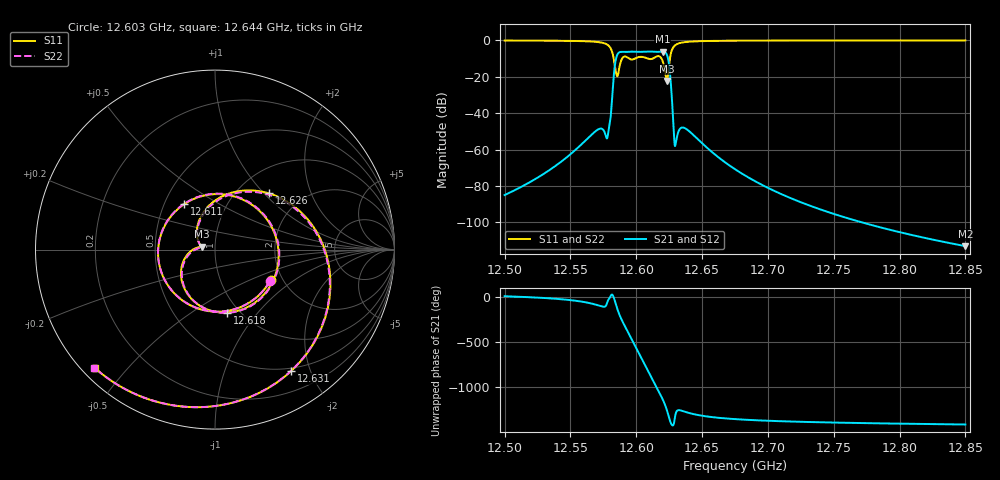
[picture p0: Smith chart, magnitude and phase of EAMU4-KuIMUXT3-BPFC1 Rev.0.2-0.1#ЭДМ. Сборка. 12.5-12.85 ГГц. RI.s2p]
! TOUCHSTONE file generated by CST MICROWAVE STUDIO
! Date and time: Thu Jun 15 18:31:35 2023
! Project name: EAMU4-KuIMUXT3-BPFC1 Rev.0.2-0.1#ÝÄÌ. Ñáîðêà.cst
! Parameters = {cavity_h=16; cavity_l0=10; cavity_l1=15.519; cavity_l2=17.2108; cavity_l3=17.4719; cavity_l4=17.6397; cavity_l5=17.5072; cavity_l6=17.9889; cavity_r=2.5; cavity_screw_l=0.5; cavity_screw_r=1.5; cavity_w=8; iris_h00=0; iris_h01=8.892; iris_h112=0; iris_h12=5.647; iris_h211=3.723; iris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
! Header version: 2018
! Port assignment regex: !\s*Touchstone port\s*([0-9]+)\s*=\s*(CST MWS port|CST DS port)\s*([0-9]+|Zmin|Zmax)\s*\(\"(.*)\"\)(\s*mode\s*([0-9]+))?.*
! Touchstone port assignment:
! Touchstone port 1 = CST MWS port 1 ("")
! Touchstone port 2 = CST MWS port 2 ("")
! S-Parameters are not renormalized. Unphysical impedance of 50 will be written to the file.
# GHz S RI R 50
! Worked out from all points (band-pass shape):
!   5001 points, 12.5 GHz to 12.85 GHz, reference per port
!   highest |S21| = -6.12 dB at 12.62 GHz (marker M1); lowest = -113.1 dB at 12.85 GHz (marker M2)
!   |S21| within 3 dB of the highest: 12.58495 GHz to 12.62384 GHz (38.89 MHz wide, 0.309 % of centre)
!   lowest |S11| = -22.3 dB at 12.623 GHz (marker M3), VSWR 1.17
!   |S11| at or under -10 dB: 12.58284 GHz to 12.58922 GHz (6.389 MHz wide, 0.0508 % of centre); 12.59464 GHz to 12.59901 GHz (4.366 MHz wide, 0.0347 % of centre); 12.61919 GHz to 12.62556 GHz (6.363 MHz wide, 0.0504 % of centre)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
!   |S22| runs from -22.2 to 0.0 dB; largest |S21 - S12| = 1e-09
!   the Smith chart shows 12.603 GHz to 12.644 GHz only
!   S11 on the Smith chart (normalised r, x): 12.603 GHz: 1.74, -0.66; 12.611 GHz: 0.63, +0.35; 12.618 GHz: 0.88, -0.71; 12.626 GHz: 1.38, +1.07; 12.631 GHz: 0.46, -1.71; 12.644 GHz: 0.04, -0.41
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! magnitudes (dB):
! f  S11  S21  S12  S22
! 12.5 GHz  -0.1  -85.0  -85.0  -0.1
! 12.516 GHz  -0.1  -79.3  -79.3  -0.1
! 12.558 GHz  -0.4  -57.1  -57.1  -0.4
! 12.578 GHz  -2.4  -53.0  -53.0  -2.5
! 12.584 GHz  -14.6  -13.2  -13.2  -14.4
! 12.586 GHz  -18.3  -7.0  -7.0  -18.7
! 12.591 GHz  -9.0  -6.4  -6.4  -9.2
! 12.603 GHz  -9.0  -6.3  -6.3  -9.1
! 12.611 GHz  -10.3  -6.1  -6.1  -10.2
! 12.617 GHz  -8.6  -6.3  -6.3  -8.6
! 12.618 GHz  -8.9  -6.2  -6.2  -8.9
! 12.62 GHz  -11.3  -6.1  -6.1  -11.2
! 12.623 GHz  -22.3  -7.9  -7.9  -22.2
! 12.626 GHz  -7.2  -23.9  -23.9  -7.3
! 12.629 GHz  -3.0  -56.4  -56.4  -3.0
! 12.631 GHz  -2.0  -52.2  -52.2  -1.9
! 12.644 GHz  -0.5  -52.7  -52.7  -0.5
! 12.675 GHz  -0.2  -70.8  -70.8  -0.2
! 12.697 GHz  -0.1  -80.1  -80.1  -0.1
! 12.733 GHz  -0.1  -91.2  -91.2  -0.1
! 12.792 GHz  0.0  -103.9  -103.9  0.0
! 12.85 GHz  0.0  -113.1  -113.1  0.0
